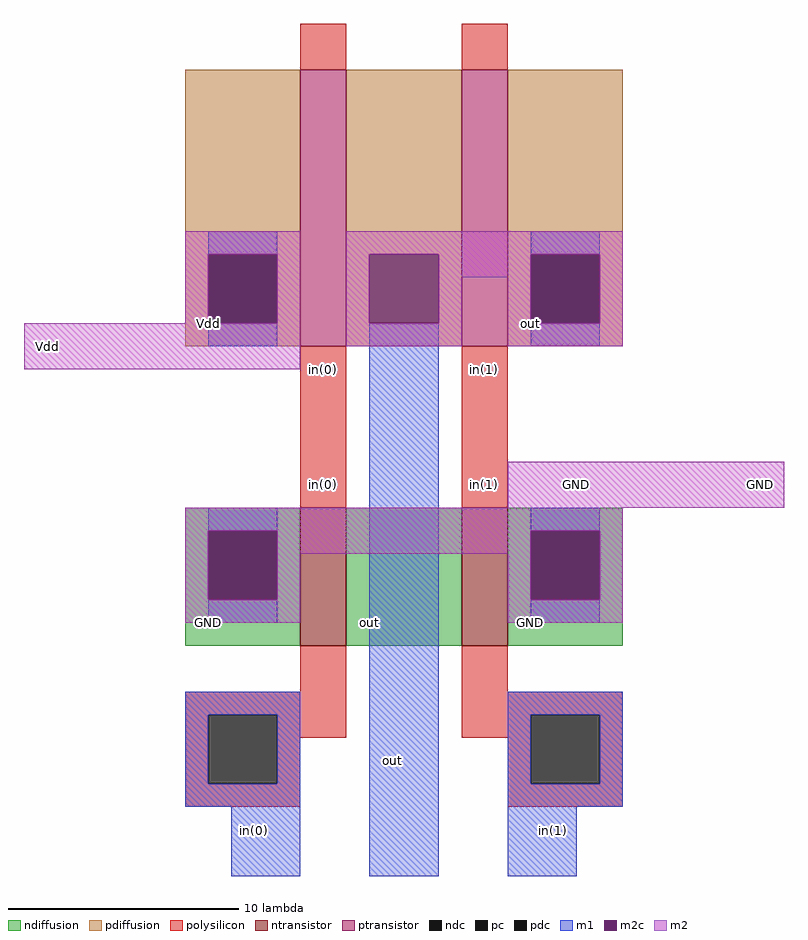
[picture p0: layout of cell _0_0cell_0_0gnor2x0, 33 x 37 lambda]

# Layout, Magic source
magic
tech sky130l
<< ndiffusion >>
rect 7 11 12 12
rect 7 8 8 11
rect 11 8 12 11
rect 7 6 12 8
rect 14 6 19 12
rect 21 11 26 12
rect 21 8 22 11
rect 25 8 26 11
rect 21 6 26 8
<< ndc >>
rect 8 8 11 11
rect 22 8 25 11
<< ntransistor >>
rect 12 6 14 12
rect 19 6 21 12
<< pdiffusion >>
rect 7 23 12 31
rect 7 20 8 23
rect 11 20 12 23
rect 7 19 12 20
rect 14 19 19 31
rect 21 23 26 31
rect 21 20 22 23
rect 25 20 26 23
rect 21 19 26 20
<< pdc >>
rect 8 20 11 23
rect 22 20 25 23
<< ptransistor >>
rect 12 19 14 31
rect 19 19 21 31
<< polysilicon >>
rect 12 31 14 33
rect 19 31 21 33
rect 12 12 14 19
rect 19 12 21 19
rect 12 4 14 6
rect 7 3 14 4
rect 7 0 8 3
rect 11 2 14 3
rect 19 4 21 6
rect 19 3 26 4
rect 19 2 22 3
rect 11 0 12 2
rect 7 -1 12 0
rect 21 0 22 2
rect 25 0 26 3
rect 21 -1 26 0
<< pc >>
rect 8 0 11 3
rect 22 0 25 3
<< m1 >>
rect 8 23 11 24
rect 22 23 25 24
rect 8 19 11 20
rect 8 11 11 12
rect 8 7 11 8
rect 7 3 12 4
rect 7 0 8 3
rect 11 0 12 3
rect 7 -1 12 0
rect 9 -4 12 -1
rect 15 -4 18 20
rect 22 19 25 20
rect 22 11 25 12
rect 22 7 25 8
rect 21 3 26 4
rect 21 0 22 3
rect 25 0 26 3
rect 21 -1 26 0
rect 21 -4 24 -1
<< m2c >>
rect 8 20 11 23
rect 15 20 18 23
rect 8 8 11 11
rect 22 20 25 23
rect 22 8 25 11
<< m2 >>
rect 7 23 12 24
rect 7 20 8 23
rect 11 20 12 23
rect 0 18 12 20
rect 14 23 26 24
rect 14 20 15 23
rect 18 22 22 23
rect 18 20 19 22
rect 14 19 19 20
rect 21 20 22 22
rect 25 20 26 23
rect 21 19 26 20
rect 21 12 33 14
rect 7 11 26 12
rect 7 8 8 11
rect 11 10 22 11
rect 11 8 12 10
rect 7 7 12 8
rect 21 8 22 10
rect 25 8 26 11
rect 21 7 26 8
<< labels >>
rlabel ndiffusion 22 7 22 7 3 GND
rlabel polysilicon 20 13 20 13 3 in(1)
rlabel polysilicon 20 18 20 18 3 in(1)
rlabel ndiffusion 15 7 15 7 3 out
rlabel polysilicon 13 13 13 13 3 in(0)
rlabel polysilicon 13 18 13 18 3 in(0)
rlabel ndiffusion 8 7 8 7 3 GND
rlabel pdiffusion 8 20 8 20 3 Vdd
rlabel m1 16 1 16 1 3 out
port 4 e
rlabel pdiffusion 22 20 22 20 3 out
rlabel m2 24 13 24 13 3 GND
port 1 e
rlabel m1 10 -2 10 -2 3 in(0)
port 5 e
rlabel m1 23 -2 23 -2 3 in(1)
port 3 e
rlabel m2 0 18 2 20 3 Vdd
rlabel m2 31 12 33 14 7 GND
<< end >>
